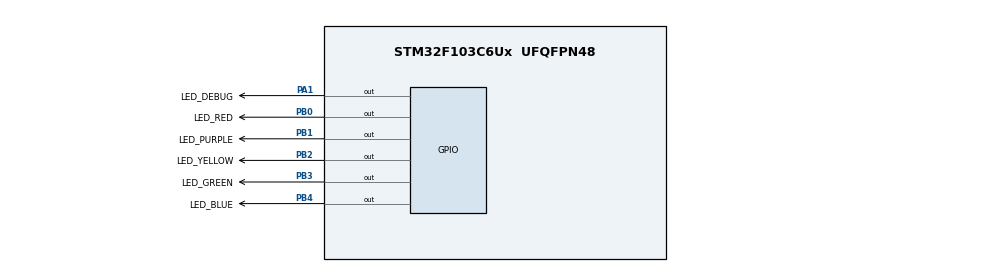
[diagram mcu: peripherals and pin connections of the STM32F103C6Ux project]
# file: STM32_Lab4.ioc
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Mcu.Family=STM32F1
Mcu.Name=STM32F103C6Ux
Mcu.Package=UFQFPN48
NVIC.PriorityGroup=NVIC_PRIORITYGROUP_4
NVIC.TIM2_IRQn=true\:0\:0\:false\:false\:true\:true\:true
PA1.GPIO_Label=LED_DEBUG
PA1.Signal=GPIO_Output
PB0.GPIO_Label=LED_RED
PB0.Signal=GPIO_Output
PB1.GPIO_Label=LED_PURPLE
PB1.Signal=GPIO_Output
PB2.GPIO_Label=LED_YELLOW
PB2.Signal=GPIO_Output
PB3.GPIO_Label=LED_GREEN
PB3.Signal=GPIO_Output
PB4.GPIO_Label=LED_BLUE
PB4.Signal=GPIO_Output
ProjectManager.HeapSize=0x200
ProjectManager.StackSize=0x400
ProjectManager.TargetToolchain=STM32CubeIDE
RCC.APB1Freq_Value=8000000
RCC.APB2Freq_Value=8000000
TIM2.Period=9
TIM2.Prescaler=7999
VP_SYS_VS_ND.Mode=No_Debug
VP_TIM2_VS_ClockSourceINT.Mode=Internal
board=custom

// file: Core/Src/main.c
/* USER CODE BEGIN Header */
/**
  ******************************************************************************
  * @file           : main.c
  * @brief          : Main program body
  ******************************************************************************
  * @attention
  *
  * <h2><center>&copy; Copyright (c) 2024 STMicroelectronics.
  * All rights reserved.</center></h2>
  *
  * This software component is licensed by ST under BSD 3-Clause license,
  * the "License"; You may not use this file except in compliance with the
  * License. You may obtain a copy of the License at:
  *                        opensource.org/licenses/BSD-3-Clause
  *
  ******************************************************************************
  */
/* USER CODE END Header */
#include "main.h"

/* USER CODE BEGIN Includes */
#include "global.h"
/* USER CODE END Includes */

TIM_HandleTypeDef htim2;

void SystemClock_Config(void);
static void MX_GPIO_Init(void);
static void MX_TIM2_Init(void);

/* USER CODE BEGIN 0 */
int timer0_counter = 0;
int timer0_flag = 0;
int TIMER_CYCLE = 10;

void setTimer0(int duration){
	timer0_counter = duration / TIMER_CYCLE;
	timer0_flag = 0;
}

void timer0_run(){
	if (timer0_counter > 0){
		timer0_counter--;
		if (timer0_counter == 0)
			timer0_flag = 1;
	}
}
/* USER CODE END 0 */

int main(void)
{

  /* MCU Configuration--------------------------------------------------------*/

  /* Reset of all peripherals, Initializes the Flash interface and the Systick. */
  HAL_Init();

  /* Configure the system clock */
  SystemClock_Config();

  /* Initialize all configured peripherals */
  MX_GPIO_Init();
  MX_TIM2_Init();
  /* USER CODE BEGIN 2 */
  HAL_TIM_Base_Start_IT(&htim2);
  /* USER CODE END 2 */

  /* Infinite loop */
  /* USER CODE BEGIN WHILE */
  SCH_Add_Task(LED_RED_Blink, 1, 100);
  SCH_Add_Task(LED_PURPLE_Blink, 50, 100);
  SCH_Add_Task(LED_YELLOW_Blink, 51, 300);
  SCH_Add_Task(LED_GREEN_Blink, 10, 200);
  SCH_Add_Task(LED_BLUE_Blink, 100, 0);
  setTimer0(500);
  System_Initialization();
  while (1)
  {
	  SCH_Dispatch_Task();
	  if(timer0_flag == 1)
	  {
		  HAL_GPIO_TogglePin(LED_DEBUG_GPIO_Port, LED_DEBUG_Pin);
		  setTimer0(500);
	  }
    /* USER CODE END WHILE */

  }
}

void SystemClock_Config(void)
{
  RCC_OscInitTypeDef RCC_OscInitStruct = {0};
  RCC_ClkInitTypeDef RCC_ClkInitStruct = {0};

  /** Initializes the RCC Oscillators according to the specified parameters
  * in the RCC_OscInitTypeDef structure.
  */
  RCC_OscInitStruct.OscillatorType = RCC_OSCILLATORTYPE_HSI;
  RCC_OscInitStruct.HSIState = RCC_HSI_ON;
  RCC_OscInitStruct.HSICalibrationValue = RCC_HSICALIBRATION_DEFAULT;
  RCC_OscInitStruct.PLL.PLLState = RCC_PLL_NONE;
  if (HAL_RCC_OscConfig(&RCC_OscInitStruct) != HAL_OK)
  {
    Error_Handler();
  }
  /** Initializes the CPU, AHB and APB buses clocks
  */
  RCC_ClkInitStruct.ClockType = RCC_CLOCKTYPE_HCLK|RCC_CLOCKTYPE_SYSCLK
                              |RCC_CLOCKTYPE_PCLK1|RCC_CLOCKTYPE_PCLK2;
  RCC_ClkInitStruct.SYSCLKSource = RCC_SYSCLKSOURCE_HSI;
  RCC_ClkInitStruct.AHBCLKDivider = RCC_SYSCLK_DIV1;
  RCC_ClkInitStruct.APB1CLKDivider = RCC_HCLK_DIV1;
  RCC_ClkInitStruct.APB2CLKDivider = RCC_HCLK_DIV1;

  if (HAL_RCC_ClockConfig(&RCC_ClkInitStruct, FLASH_LATENCY_0) != HAL_OK)
  {
    Error_Handler();
  }
}

static void MX_TIM2_Init(void)
{

  TIM_ClockConfigTypeDef sClockSourceConfig = {0};
  TIM_MasterConfigTypeDef sMasterConfig = {0};

  htim2.Instance = TIM2;
  htim2.Init.Prescaler = 7999;
  htim2.Init.CounterMode = TIM_COUNTERMODE_UP;
  htim2.Init.Period = 9;
  htim2.Init.ClockDivision = TIM_CLOCKDIVISION_DIV1;
  htim2.Init.AutoReloadPreload = TIM_AUTORELOAD_PRELOAD_DISABLE;
  if (HAL_TIM_Base_Init(&htim2) != HAL_OK)
  {
    Error_Handler();
  }
  sClockSourceConfig.ClockSource = TIM_CLOCKSOURCE_INTERNAL;
  if (HAL_TIM_ConfigClockSource(&htim2, &sClockSourceConfig) != HAL_OK)
  {
    Error_Handler();
  }
  sMasterConfig.MasterOutputTrigger = TIM_TRGO_RESET;
  sMasterConfig.MasterSlaveMode = TIM_MASTERSLAVEMODE_DISABLE;
  if (HAL_TIMEx_MasterConfigSynchronization(&htim2, &sMasterConfig) != HAL_OK)
  {
    Error_Handler();
  }

}

static void MX_GPIO_Init(void)
{
  GPIO_InitTypeDef GPIO_InitStruct = {0};

  /* GPIO Ports Clock Enable */
  __HAL_RCC_GPIOA_CLK_ENABLE();
  __HAL_RCC_GPIOB_CLK_ENABLE();

  /*Configure GPIO pin Output Level */
  HAL_GPIO_WritePin(LED_DEBUG_GPIO_Port, LED_DEBUG_Pin, GPIO_PIN_RESET);

  /*Configure GPIO pin Output Level */
  HAL_GPIO_WritePin(GPIOB, LED_RED_Pin|LED_PURPLE_Pin|LED_YELLOW_Pin|LED_GREEN_Pin
                          |LED_BLUE_Pin, GPIO_PIN_RESET);

  /*Configure GPIO pin : LED_DEBUG_Pin */
  GPIO_InitStruct.Pin = LED_DEBUG_Pin;
  GPIO_InitStruct.Mode = GPIO_MODE_OUTPUT_PP;
  GPIO_InitStruct.Pull = GPIO_NOPULL;
  GPIO_InitStruct.Speed = GPIO_SPEED_FREQ_LOW;
  HAL_GPIO_Init(LED_DEBUG_GPIO_Port, &GPIO_InitStruct);

  /*Configure GPIO pins : LED_RED_Pin LED_PURPLE_Pin LED_YELLOW_Pin LED_GREEN_Pin
                           LED_BLUE_Pin */
  GPIO_InitStruct.Pin = LED_RED_Pin|LED_PURPLE_Pin|LED_YELLOW_Pin|LED_GREEN_Pin
                          |LED_BLUE_Pin;
  GPIO_InitStruct.Mode = GPIO_MODE_OUTPUT_PP;
  GPIO_InitStruct.Pull = GPIO_NOPULL;
  GPIO_InitStruct.Speed = GPIO_SPEED_FREQ_LOW;
  HAL_GPIO_Init(GPIOB, &GPIO_InitStruct);

}

/* USER CODE BEGIN 4 */
void HAL_TIM_PeriodElapsedCallback(TIM_HandleTypeDef *htim)
{
	SCH_Update();
	timer0_run();
}
/* USER CODE END 4 */

void Error_Handler(void)
{
  __disable_irq();
  while (1)
  {
  }
}

/************************ (C) COPYRIGHT STMicroelectronics *****END OF FILE****/
